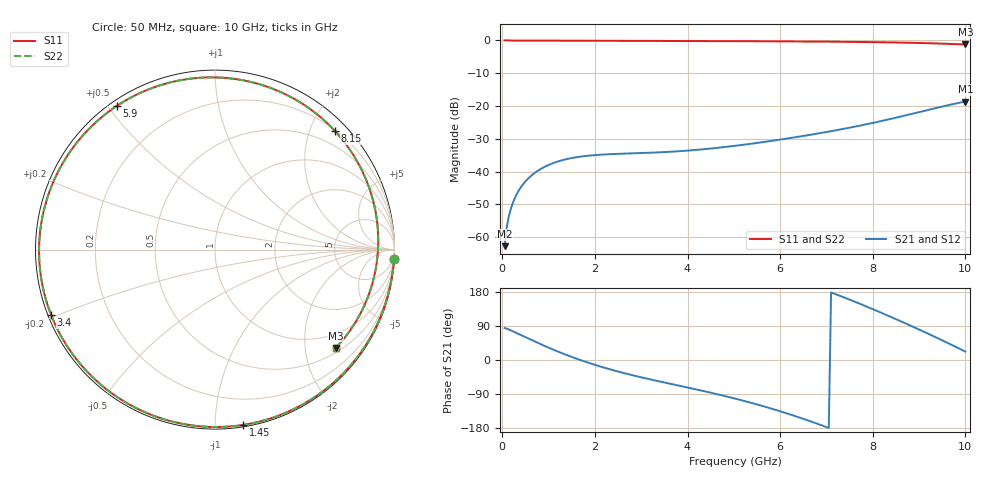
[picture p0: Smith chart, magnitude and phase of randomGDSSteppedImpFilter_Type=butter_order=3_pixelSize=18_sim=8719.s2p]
! freq	dB(S11)	phase(S11)	dB(S12)	phase(S12)
!  dB(S21)	phase(S21)	dB(S22)	phase(S22)
!S-par simulation data
#  GHz  S  DB  R 50
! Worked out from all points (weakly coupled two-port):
!   200 points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, 50 MHz to 10 GHz, reference 50 ohm
!   highest |S21| = -18.62 dB at 10 GHz (marker M1); lowest = -62.7 dB at 50 MHz (marker M2)
!   lowest |S11| = -1.2 dB at 10 GHz (marker M3), VSWR 14.11, Z = 30.3 - j134 ohm
!   |S11| at or under -10 dB: nowhere
!   |S22| runs from -1.2 to 0.0 dB; largest |S21 - S12| = 0
!   S11 on the Smith chart (normalised r, x): 50 MHz: 0, -39; 1.45 GHz: 0.01, -1.17; 3.4 GHz: 0.01, -0.19; 5.9 GHz: 0.02, +0.53; 8.15 GHz: 0.21, +2.42; 10 GHz: 0.61, -2.69
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0.05  -0.01 -2.9  -62.71 84.4  -62.71 84.4  -0.01 -2.9
0.1  -0.01 -5.9  -56.62 82.6  -56.62 82.6  -0.02 -5.9
0.2  -0.03 -11.9  -50.63 77.3  -50.63 77.3  -0.03 -11.9
0.3  -0.03 -17.9  -47.18 71.6  -47.18 71.6  -0.03 -17.9
0.45  -0.04 -26.8  -43.81 63.0  -43.81 63.0  -0.04 -26.8
0.95  -0.07 -55.2  -38.27 35.2  -38.27 35.2  -0.07 -55.2
1.45  -0.09 -80.9  -35.99 10.4  -35.99 10.4  -0.09 -80.9
1.75  -0.10 -95.1  -35.30 -2.8  -35.30 -2.8  -0.10 -95.0
2.15  -0.12 -112.4  -34.80 -18.5  -34.80 -18.5  -0.12 -112.4
2.6  -0.13 -130.1  -34.51 -33.7  -34.51 -33.7  -0.13 -130.1
3.4  -0.15 -158.2  -34.11 -56.7  -34.11 -56.7  -0.15 -158.2
4.2  -0.18 176.4  -33.36 -78.0  -33.36 -78.0  -0.18 176.4
5.05  -0.22 150.5  -32.08 -102.5  -32.08 -102.5  -0.22 150.5
5.9  -0.27 124.3  -30.44 -131.5  -30.44 -131.5  -0.27 124.3
6.7  -0.33 98.2  -28.65 -163.7  -28.65 -163.7  -0.34 98.2
7.45  -0.42 71.7  -26.73 161.8  -26.73 161.8  -0.42 71.7
8.15  -0.54 44.6  -24.68 126.4  -24.68 126.4  -0.54 44.6
8.35  -0.58 36.4  -24.04 115.9  -24.04 115.9  -0.58 36.4
8.8  -0.70 17.2  -22.54 91.5  -22.54 91.5  -0.70 17.2
9.2  -0.84 -0.8  -21.16 69.1  -21.16 69.1  -0.84 -0.7
9.6  -1.02 -19.6  -19.82 46.0  -19.82 46.0  -1.02 -19.5
10  -1.23 -39.2  -18.62 22.2  -18.62 22.2  -1.23 -39.2
